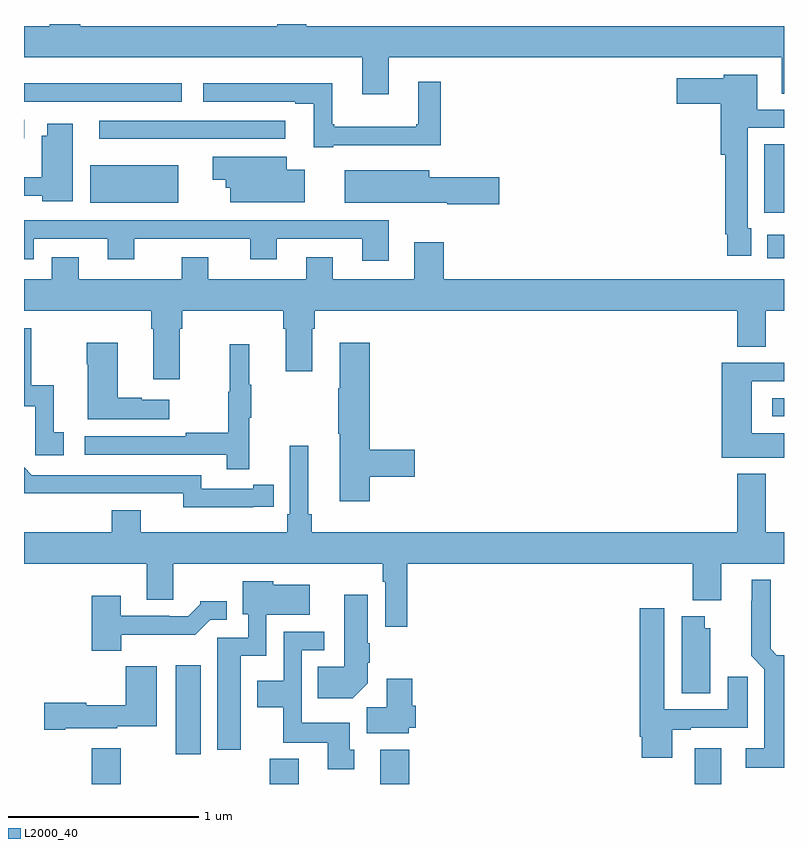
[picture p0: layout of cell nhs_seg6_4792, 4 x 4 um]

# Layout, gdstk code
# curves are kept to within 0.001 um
import gdstk
lib = gdstk.Library(unit=1e-6, precision=1e-09)
def R(c, l, rs):  # rectangles x0, y0, x1, y1
    for r in rs: c.add(gdstk.rectangle(r[:2], r[2:], *l))
def P(c, l, *ps):  # polygons
    for p in ps: c.add(gdstk.Polygon(p, *l))
L2000_40 = (2000, 40)

nhs_seg6_4792 = lib.new_cell('nhs_seg6_4792')
R(nhs_seg6_4792, L2000_40, [(395.357,955.5,395.509,955.687), (396.293,955.5,396.445,955.633), (396.875,955.5,397.028,955.681), (398.531,955.5,398.671,955.687), (395.798,955.656,395.929,956.125), (398.937,957.435,399,957.531), (398.912,958.268,399,958.39), (398.897,958.506,399,958.868), (395.348,958.559,395.812,958.756), (395,958.898,395.002,958.995), (395,959.091,395.83,959.188)])
P(nhs_seg6_4792, L2000_40, [(396.919,959.324),(398.987,959.324),(398.987,959.134),(399,959.134),(399,959.488),(396.485,959.488),(396.485,959.5),(396.332,959.5),(396.332,959.488),(395.295,959.488),(395.295,959.5),(395.135,959.5),(395.135,959.488),(395,959.488),(395,959.324),(396.779,959.324),(396.779,959.13),(396.919,959.13)],
  [(398.827,958.425),(398.808,958.425),(398.808,958.953),(399,958.953),(399,959.049),(398.86,959.049),(398.86,959.233),(398.682,959.233),(398.682,959.215),(398.436,959.215),(398.436,959.081),(398.666,959.081),(398.666,958.811),(398.692,958.811),(398.692,958.393),(398.7,958.393),(398.7,958.281),(398.827,958.281)],
  [(396.628,958.862),(397.193,958.862),(397.193,959.197),(397.076,959.197),(397.076,958.972),(397.065,958.972),(397.065,958.96),(396.634,958.96),(396.634,958.972),(396.622,958.972),(396.622,959.188),(395.943,959.188),(395.943,959.091),(396.428,959.091),(396.428,959.079),(396.524,959.079),(396.524,958.851),(396.628,958.851)],
  [(395.808,958.896),(396.376,958.896),(396.376,958.992),(395.397,958.992),(395.397,958.895),(395.808,958.895)],
  [(395.257,958.975),(395.123,958.975),(395.123,958.912),(395.093,958.912),(395.093,958.694),(395,958.694),(395,958.596),(395.097,958.596),(395.097,958.568),(395.257,958.568)],
  [(396.478,958.732),(396.382,958.732),(396.382,958.801),(395.994,958.801),(395.994,958.679),(396.062,958.679),(396.062,958.638),(396.086,958.638),(396.086,958.562),(396.478,958.562)],
  [(397.501,958.694),(397.132,958.694),(397.132,958.729),(396.689,958.729),(396.689,958.559),(397.228,958.559),(397.228,958.552),(397.501,958.552)],
  [(396.919,958.467),(395,958.467),(395,958.262),(395.05,958.262),(395.05,958.371),(395.441,958.371),(395.441,958.262),(395.581,958.262),(395.581,958.371),(396.191,958.371),(396.191,958.262),(396.331,958.262),(396.331,958.371),(396.779,958.371),(396.779,958.254),(396.919,958.254)],
  [(396.365,957.896),(396.377,957.896),(396.377,957.672),(396.517,957.672),(396.517,957.896),(396.53,957.896),(396.53,957.992),(398.753,957.992),(398.753,957.802),(398.905,957.802),(398.905,957.992),(399,957.992),(399,958.156),(397.208,958.156),(397.208,958.351),(397.055,958.351),(397.055,958.156),(396.625,958.156),(396.625,958.273),(396.485,958.273),(396.485,958.156),(395.971,958.156),(395.971,958.273),(395.831,958.273),(395.831,958.156),(395.287,958.156),(395.287,958.273),(395.147,958.273),(395.147,958.156),(395,958.156),(395,957.992),(395.669,957.992),(395.669,957.896),(395.681,957.896),(395.681,957.63),(395.821,957.63),(395.821,957.896),(395.834,957.896),(395.834,957.992),(396.365,957.992)],
  [(395.209,957.351),(395.156,957.351),(395.156,957.598),(395.038,957.598),(395.038,957.9),(395,957.9),(395,957.489),(395.058,957.489),(395.058,957.231),(395.209,957.231)],
  [(396.821,957.118),(397.057,957.118),(397.057,957.26),(396.821,957.26),(396.821,957.823),(396.662,957.823),(396.662,957.584),(396.655,957.584),(396.655,957.343),(396.662,957.343),(396.662,956.988),(396.821,956.988)],
  [(395.764,957.523),(395.621,957.523),(395.621,957.533),(395.494,957.533),(395.494,957.823),(395.329,957.823),(395.329,957.71),(395.336,957.71),(395.336,957.419),(395.764,957.419)],
  [(396.185,957.427),(396.196,957.427),(396.196,957.601),(396.185,957.601),(396.185,957.814),(396.082,957.814),(396.082,957.564),(396.075,957.564),(396.075,957.35),(395.851,957.35),(395.851,957.33),(395.319,957.33),(395.319,957.234),(396.067,957.234),(396.067,957.156),(396.185,957.156)],
  [(399,957.346),(398.83,957.346),(398.83,957.621),(399,957.621),(399,957.717),(398.672,957.717),(398.672,957.218),(399,957.218)],
  [(397.016,956.66),(398.519,956.66),(398.519,956.468),(398.671,956.468),(398.671,956.66),(399,956.66),(399,956.824),(398.905,956.824),(398.905,957.133),(398.753,957.133),(398.753,956.824),(396.515,956.824),(396.515,956.92),(396.496,956.92),(396.496,957.28),(396.399,957.28),(396.399,956.92),(396.386,956.92),(396.386,956.824),(395.614,956.824),(395.614,956.941),(395.462,956.941),(395.462,956.824),(395,956.824),(395,956.66),(395.645,956.66),(395.645,956.47),(395.785,956.47),(395.785,956.66),(396.888,956.66),(396.888,956.564),(396.9,956.564),(396.9,956.328),(397.016,956.328)],
  [(396.206,956.958),(396.314,956.958),(396.314,957.074),(396.206,957.074),(396.206,957.054),(395.934,957.054),(395.934,957.126),(395.04,957.126),(395,957.166),(395,957.029),(395.838,957.03),(395.838,956.957)],
  [(399,956.178),(398.962,956.178),(398.929,956.212),(398.929,956.575),(398.831,956.575),(398.831,956.465),(398.827,956.465),(398.827,956.174),(398.897,956.104),(398.897,955.687),(398.799,955.687),(398.799,955.586),(399,955.586)],
  [(396.142,956.174),(396.276,956.174),(396.276,956.39),(396.505,956.39),(396.505,956.548),(396.312,956.548),(396.312,956.566),(396.152,956.566),(396.152,956.394),(396.18,956.394),(396.18,956.271),(396.017,956.271),(396.017,955.68),(396.142,955.68)],
  [(396.808,956.03),(396.808,956.137),(396.821,956.137),(396.821,956.24),(396.808,956.24),(396.808,956.497),(396.686,956.497),(396.686,956.116),(396.547,956.116),(396.547,955.952),(396.73,955.952)],
  [(395.512,956.286),(395.901,956.286),(395.979,956.364),(396.067,956.364),(396.067,956.461),(395.928,956.461),(395.928,956.446),(395.864,956.382),(395.765,956.382),(395.765,956.385),(395.509,956.385),(395.509,956.491),(395.357,956.491),(395.357,956.201),(395.512,956.201)],
  [(398.413,955.785),(398.509,955.785),(398.509,955.797),(398.809,955.797),(398.809,956.065),(398.705,956.065),(398.705,955.893),(398.371,955.893),(398.371,956.425),(398.24,956.425),(398.24,955.75),(398.252,955.75),(398.252,955.638),(398.413,955.638)],
  [(398.611,956.319),(398.584,956.319),(398.584,956.383),(398.462,956.383),(398.462,955.978),(398.611,955.978)],
  [(396.739,955.68),(396.715,955.68),(396.715,955.822),(396.462,955.822),(396.462,956.205),(396.58,956.205),(396.58,956.301),(396.366,956.301),(396.366,956.044),(396.227,956.044),(396.227,955.904),(396.364,955.904),(396.364,955.718),(396.599,955.718),(396.599,955.578),(396.739,955.578)],
  [(395.218,955.793),(395.49,955.793),(395.49,955.805),(395.698,955.805),(395.698,956.119),(395.536,956.119),(395.536,955.915),(395.328,955.915),(395.328,955.928),(395.106,955.928),(395.106,955.786),(395.218,955.786)],
  [(397.026,955.797),(397.061,955.797),(397.061,955.911),(397.043,955.911),(397.043,956.053),(396.908,956.053),(396.908,955.904),(396.803,955.904),(396.803,955.766),(397.026,955.766)])

lib.write_gds('nhs_seg6_4792.gds')
